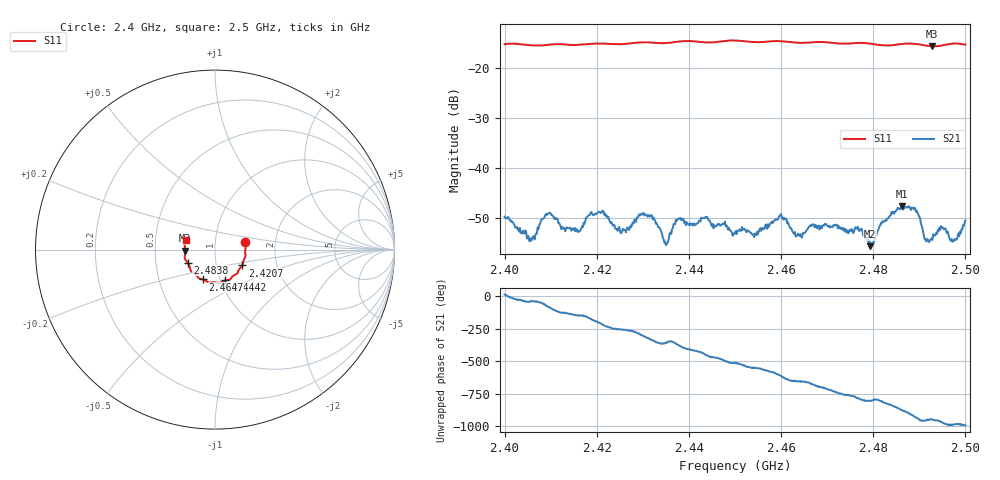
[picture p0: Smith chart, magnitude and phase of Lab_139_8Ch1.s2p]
# Hz S RI R 50
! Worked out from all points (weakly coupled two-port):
!   601 points, 2.4 GHz to 2.5 GHz, reference 50 ohm
!   highest |S21| = -47.58 dB at 2.4862 GHz (marker M1); lowest = -55.7 dB at 2.4793 GHz (marker M2)
!   lowest |S11| = -15.6 dB at 2.4928 GHz (marker M3), VSWR 1.40, Z = 35.8 - j0.448 ohm
!   |S11| at or under -10 dB: start of sweep to end of sweep
!   S12 and S22 are empty: the file has one direction only
!   S11 on the Smith chart (normalised r, x): 2.4 GHz: 1.40, +0.12; 2.4207 GHz: 1.33, -0.24; 2.4442 GHz: 1.05, -0.37; 2.4647 GHz: 0.83, -0.29; 2.4838 GHz: 0.73, -0.11; 2.5 GHz: 0.71, +0.07
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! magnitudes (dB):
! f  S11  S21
! 2.4 GHz  -15.2  -49.7
! 2.4053 GHz  -15.4  -54.6
! 2.4095 GHz  -15.3  -49.1
! 2.4167 GHz  -15.3  -52.1
! 2.4207 GHz  -15.1  -48.8
! 2.425 GHz  -15.2  -52.3
! 2.4297 GHz  -14.8  -49.2
! 2.4333 GHz  -15.0  -51.8
! 2.435 GHz  -15.0  -55.5
! 2.4377 GHz  -14.7  -50.2
! 2.4442 GHz  -14.9  -50.3
! 2.45 GHz  -14.5  -53.0
! 2.4598 GHz  -14.6  -49.4
! 2.4647 GHz  -14.9  -53.2
! 2.4667 GHz  -14.8  -51.3
! 2.4793 GHz  -15.1  -55.7
! 2.4833 GHz  -15.5  -50.0
! 2.4838 GHz  -15.4  -49.5
! 2.4862 GHz  -15.2  -47.6
! 2.4928 GHz  -15.6  -54.4
! 2.4977 GHz  -15.1  -54.2
! 2.5 GHz  -15.3  -50.5
